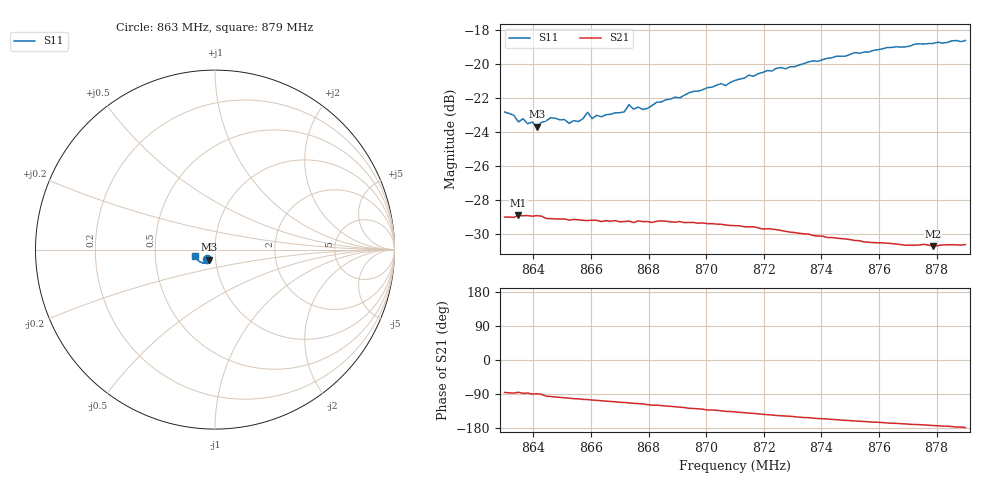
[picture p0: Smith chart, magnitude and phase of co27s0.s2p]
# HZ S RI R 50
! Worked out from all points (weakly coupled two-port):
!   101 points, 863 MHz to 879 MHz, reference 50 ohm
!   highest |S21| = -28.91 dB at 863.48 MHz (marker M1); lowest = -30.7 dB at 877.88 MHz (marker M2)
!   lowest |S11| = -23.7 dB at 864.12 MHz (marker M3), VSWR 1.14, Z = 46.4 - j5.19 ohm
!   |S11| at or under -10 dB: start of sweep to end of sweep
!   S12 and S22 are empty: the file has one direction only
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8.63e8  -0.0469 -0.0551  0.00276 -0.0353  0 0  0 0
8.6332e8  -0.0434 -0.0558  0.00158 -0.0353  0 0  0 0
8.6348e8  -0.0364 -0.0569  0.00308 -0.0357  0 0  0 0
8.6364e8  -0.0386 -0.0573  0.00125 -0.0357  0 0  0 0
8.6412e8  -0.0345 -0.0557  0.000698 -0.0358  0 0  0 0
8.646e8  -0.0388 -0.0577  -0.0039 -0.0348  0 0  0 0
8.6524e8  -0.0367 -0.056  -0.00645 -0.0341  0 0  0 0
8.6572e8  -0.0358 -0.0591  -0.00832 -0.0336  0 0  0 0
8.6588e8  -0.0404 -0.0598  -0.00862 -0.0335  0 0  0 0
8.6604e8  -0.0352 -0.0595  -0.00932 -0.0334  0 0  0 0
8.6716e8  -0.0348 -0.0635  -0.0129 -0.0319  0 0  0 0
8.6732e8  -0.0407 -0.0642  -0.0136 -0.0317  0 0  0 0
8.6748e8  -0.0359 -0.0644  -0.0141 -0.0311  0 0  0 0
8.678e8  -0.0364 -0.0639  -0.0151 -0.0309  0 0  0 0
8.6844e8  -0.0383 -0.0673  -0.0174 -0.0299  0 0  0 0
8.7052e8  -0.0472 -0.0739  -0.0234 -0.0243  0 0  0 0
8.7068e8  -0.0474 -0.0724  -0.024 -0.0235  0 0  0 0
8.71e8  -0.0503 -0.0741  -0.0244 -0.0229  0 0  0 0
8.7372e8  -0.0703 -0.0743  -0.028 -0.014  0 0  0 0
8.7644e8  -0.0945 -0.0603  -0.0288 -0.00671  0 0  0 0
8.7788e8  -0.1048 -0.0478  -0.0289 -0.0036  0 0  0 0
8.79e8  -0.1115 -0.037  -0.0294 -0.00102  0 0  0 0
